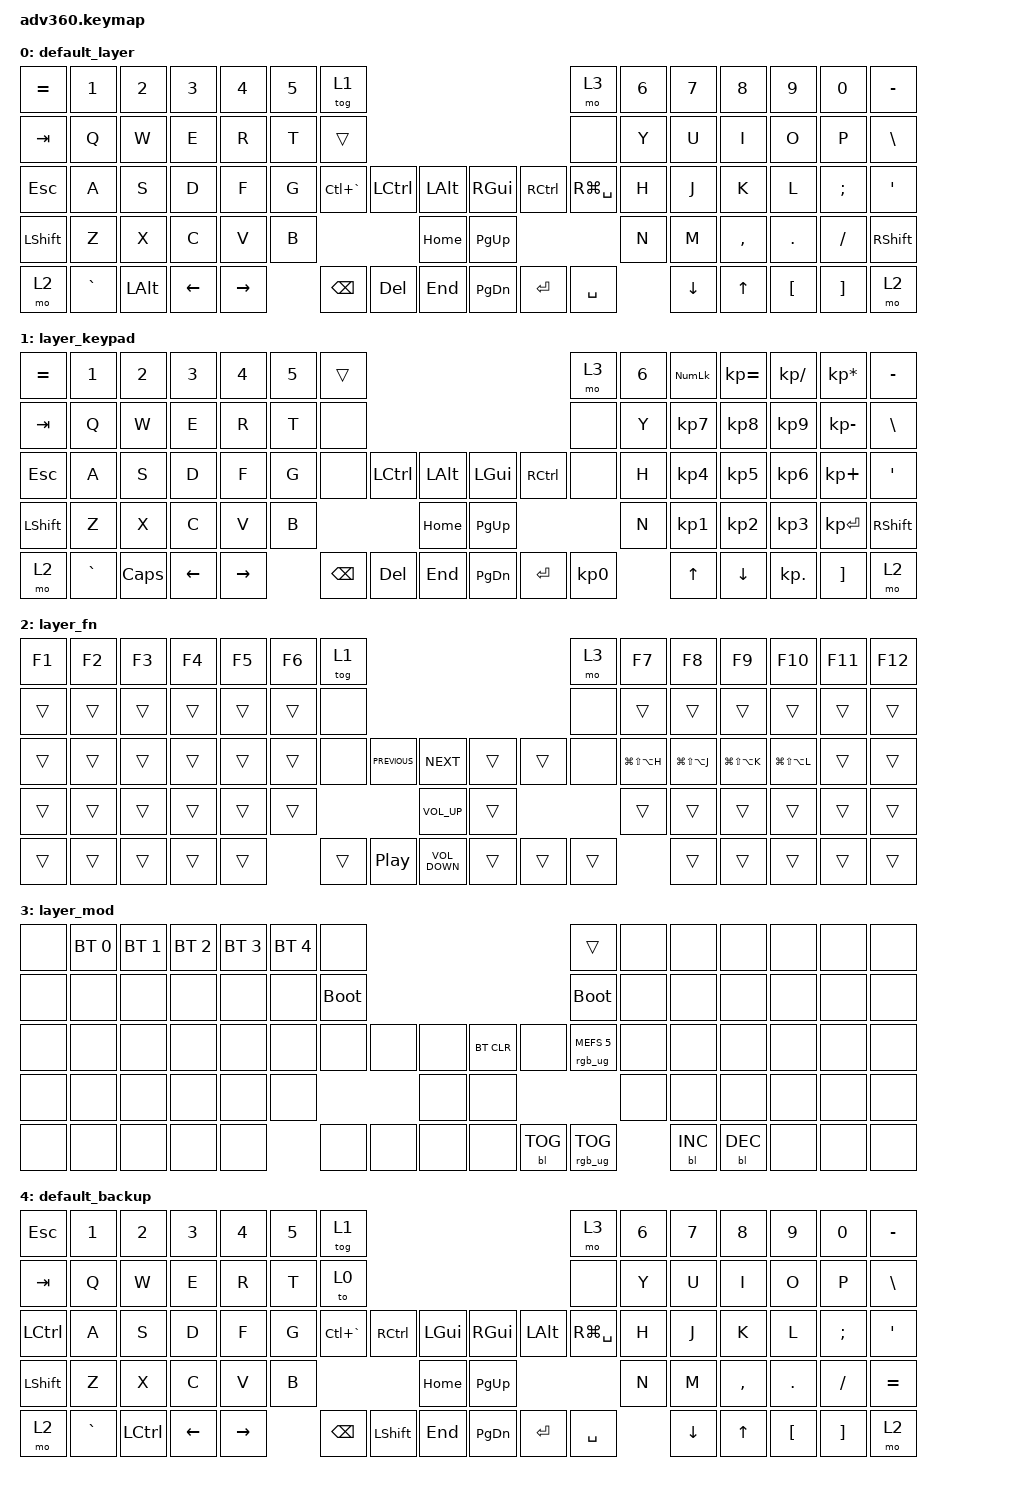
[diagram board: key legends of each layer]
/*
 * Copyright (c) 2020 The ZMK Contributors
 *
 * SPDX-License-Identifier: MIT
 */
/* THIS FILE WAS GENERATED!
 *
 * This file was generated automatically. You may or may not want to
 * edit it directly.
 */

#include <behaviors.dtsi>
#include <dt-bindings/zmk/backlight.h>
#include <dt-bindings/zmk/bt.h>
#include <dt-bindings/zmk/keys.h>
#include <dt-bindings/zmk/rgb.h>

/ {
    behaviors {
        #include "macros.dtsi"
    #include "version.dtsi"

        hm: homerow_mods {
            compatible = "zmk,behavior-hold-tap";
            label = "HOMEROW_MODS";
            #binding-cells = <2>;
            tapping-term-ms = <200>;
            quick_tap_ms = <175>;
            flavor = "tap-preferred";
            bindings = <&kp>, <&kp>;
        };
    };

    keymap {
        compatible = "zmk,keymap";

        default_layer {
            bindings = <
&kp EQUAL   &kp N1     &kp N2        &kp N3    &kp N4     &kp N5  &tog 1                                                         &mo 3          &kp N6  &kp N7    &kp N8     &kp N9    &kp N0    &kp MINUS
&kp TAB     &kp Q      &kp W         &kp E     &kp R      &kp T   &trans                                                         &none          &kp Y   &kp U     &kp I      &kp O     &kp P     &kp BSLH
&kp ESCAPE  &kp A      &kp S         &kp D     &kp F      &kp G   &kp LC(GRAVE)  &kp LCTRL   &kp LALT      &kp RGUI   &kp RCTRL  &kp RG(SPACE)  &kp H   &kp J     &kp K      &kp L     &kp SEMI  &kp SQT
&kp LSHFT   &kp Z      &kp X         &kp C     &kp V      &kp B                              &kp HOME      &kp PG_UP                            &kp N   &kp M     &kp COMMA  &kp DOT   &kp FSLH  &kp RSHIFT
&mo 2       &kp GRAVE  &kp LEFT_ALT  &kp LEFT  &kp RIGHT          &kp BSPC       &kp DELETE  &kp END       &kp PG_DN  &kp ENTER  &kp SPACE              &kp DOWN  &kp UP     &kp LBKT  &kp RBKT  &mo 2
            >;
        };

        layer_keypad {
            bindings = <
&kp EQUAL  &kp N1     &kp N2    &kp N3    &kp N4     &kp N5  &trans                                                   &mo 3      &kp N6  &kp KP_NUM  &kp KP_EQUAL  &kp KP_DIVIDE  &kp KP_MULTIPLY  &kp MINUS
&kp TAB    &kp Q      &kp W     &kp E     &kp R      &kp T   &none                                                    &none      &kp Y   &kp KP_N7   &kp KP_N8     &kp KP_N9      &kp KP_MINUS     &kp BSLH
&kp ESC    &kp A      &kp S     &kp D     &kp F      &kp G   &none     &kp LCTRL  &kp LALT      &kp LGUI   &kp RCTRL  &none      &kp H   &kp KP_N4   &kp KP_N5     &kp KP_N6      &kp KP_PLUS      &kp SQT
&kp LSHFT  &kp Z      &kp X     &kp C     &kp V      &kp B                        &kp HOME      &kp PG_UP                        &kp N   &kp KP_N1   &kp KP_N2     &kp KP_N3      &kp KP_ENTER     &kp RSHFT
&mo 2      &kp GRAVE  &kp CAPS  &kp LEFT  &kp RIGHT          &kp BSPC  &kp DEL    &kp END       &kp PG_DN  &kp ENTER  &kp KP_N0          &kp UP      &kp DOWN      &kp KP_DOT     &kp RBKT         &mo 2
            >;
        };

        layer_fn {
            bindings = <
&kp F1  &kp F2  &kp F3  &kp F4  &kp F5  &kp F6  &tog 1                                                           &mo 3   &kp F7             &kp F8             &kp F9             &kp F10            &kp F11  &kp F12
&trans  &trans  &trans  &trans  &trans  &trans  &none                                                            &none   &trans             &trans             &trans             &trans             &trans   &trans
&trans  &trans  &trans  &trans  &trans  &trans  &none   &kp C_PREVIOUS    &kp C_NEXT             &trans  &trans  &none   &kp LG(LS(LA(H)))  &kp LG(LS(LA(J)))  &kp LG(LS(LA(K)))  &kp LG(LS(LA(L)))  &trans   &trans
&trans  &trans  &trans  &trans  &trans  &trans                            &kp C_VOLUME_UP        &trans                  &trans             &trans             &trans             &trans             &trans   &trans
&trans  &trans  &trans  &trans  &trans          &trans  &kp C_PLAY_PAUSE  &kp C_VOLUME_DOWN      &trans  &trans  &trans                     &trans             &trans             &trans             &trans   &trans
            >;
        };

        layer_mod {
            bindings = <
&none  &bt BT_SEL 0  &bt BT_SEL 1  &bt BT_SEL 2  &bt BT_SEL 3  &bt BT_SEL 4  &none                                                  &trans                  &none  &none       &none       &none  &none  &none
&none  &none         &none         &none         &none         &none         &bootloader                                            &bootloader             &none  &none       &none       &none  &none  &none
&none  &none         &none         &none         &none         &none         &none        &none  &none      &bt BT_CLR  &none       &rgb_ug RGB_MEFS_CMD 5  &none  &none       &none       &none  &none  &none
&none  &none         &none         &none         &none         &none                             &none      &none                                           &none  &none       &none       &none  &none  &none
&none  &none         &none         &none         &none                       &none        &none  &none      &none       &bl BL_TOG  &rgb_ug RGB_TOG                &bl BL_INC  &bl BL_DEC  &none  &none  &none
            >;
        };

        default_backup {
            bindings = <
&kp ESC    &kp N1     &kp N2     &kp N3    &kp N4     &kp N5  &tog 1                                                             &mo 3          &kp N6  &kp N7    &kp N8     &kp N9    &kp N0    &kp MINUS
&kp TAB    &kp Q      &kp W      &kp E     &kp R      &kp T   &to 0                                                              &none          &kp Y   &kp U     &kp I      &kp O     &kp P     &kp BSLH
&kp LCTRL  &kp A      &kp S      &kp D     &kp F      &kp G   &kp LC(GRAVE)  &kp RCTRL       &kp LGUI      &kp RGUI   &kp LALT   &kp RG(SPACE)  &kp H   &kp J     &kp K      &kp L     &kp SEMI  &kp SQT
&kp LSHFT  &kp Z      &kp X      &kp C     &kp V      &kp B                                  &kp HOME      &kp PG_UP                            &kp N   &kp M     &kp COMMA  &kp DOT   &kp FSLH  &kp EQUAL
&mo 2      &kp GRAVE  &kp LCTRL  &kp LEFT  &kp RIGHT          &kp BSPC       &kp LEFT_SHIFT  &kp END       &kp PG_DN  &kp ENTER  &kp SPACE              &kp DOWN  &kp UP     &kp LBKT  &kp RBKT  &mo 2
            >;
        };
    };
};
